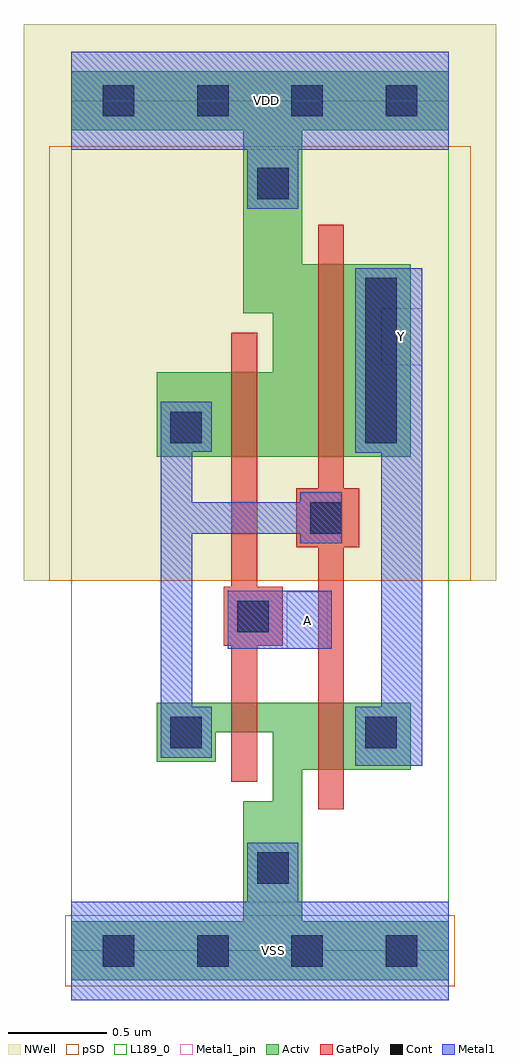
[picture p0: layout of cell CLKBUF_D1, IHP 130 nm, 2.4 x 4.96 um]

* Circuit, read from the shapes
.subckt CLKBUF_D1 A VDD VSS Y
XM1 VSS A n1 VSS sg13_lv_nmos w=0.15u l=0.13u
XM2 Y n1 VSS VSS sg13_lv_nmos w=0.34u l=0.13u
XM3 VDD A n1 VDD sg13_lv_pmos w=0.43u l=0.13u
XM4 Y n1 VDD VDD sg13_lv_pmos w=0.98u l=0.13u
.ends

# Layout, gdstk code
import gdstk
lib = gdstk.Library(unit=1e-6, precision=1e-09)
def R(c, l, rs):  # rectangles x0, y0, x1, y1
    for r in rs: c.add(gdstk.rectangle(r[:2], r[2:], *l))
def A(c, l, x, y, w, h, nx, ny, dx, dy):  # array of equal rectangles
    R(c, l, [(x+i*dx, y+j*dy, x+i*dx+w, y+j*dy+h) for i in range(nx) for j in range(ny)])
def P(c, l, *ps):  # polygons
    for p in ps: c.add(gdstk.Polygon(p, *l))
Activ = (1, 0)
GatPoly = (5, 0)
Cont = (6, 0)
Metal1 = (8, 0)
Metal1_pin = (8, 2)
pSD = (14, 0)
NWell = (31, 0)
L189_0 = (189, 0)

clkbuf_d1 = lib.new_cell('CLKBUF_D1')
P(clkbuf_d1, Activ, [(1.175,4.17),(1.92,4.17),(1.92,4.47),(0,4.47),(0,4.17),(0.875,4.17),(0.875,3.24),(1.025,3.24),(1.025,2.94),(0.435,2.94),(0.435,2.51),(1.725,2.51),(1.725,3.49),(1.175,3.49)],
  [(1.725,1.26),(0.435,1.26),(0.435,0.96),(0.735,0.96),(0.735,1.11),(1.025,1.11),(1.025,0.76),(0.875,0.76),(0.875,0.15),(0,0.15),(0,-0.15),(1.92,-0.15),(1.92,0.15),(1.175,0.15),(1.175,0.92),(1.725,0.92)])
P(clkbuf_d1, GatPoly, [(1.385,2.05),(1.465,2.05),(1.465,2.35),(1.385,2.35),(1.385,3.69),(1.255,3.69),(1.255,2.35),(1.145,2.35),(1.145,2.05),(1.255,2.05),(1.255,0.72),(1.385,0.72)],
  [(0.945,1.55),(1.075,1.55),(1.075,1.85),(0.945,1.85),(0.945,3.14),(0.815,3.14),(0.815,1.85),(0.775,1.85),(0.775,1.55),(0.815,1.55),(0.815,0.86),(0.945,0.86)])
A(clkbuf_d1, Cont, 0.16, -0.08, 0.16, 0.16, 4, 2, 0.48, 4.32)
R(clkbuf_d1, Cont, [(0.945,0.34,1.105,0.5), (0.505,1.03,0.665,1.19), (1.495,1.03,1.655,1.19), (0.845,1.62,1.005,1.78), (1.215,2.12,1.375,2.28), (0.505,2.58,0.665,2.74), (1.495,2.58,1.655,3.42), (0.945,3.82,1.105,3.98)])
R(clkbuf_d1, Metal1, [(0.795,1.535,1.325,1.83)])
P(clkbuf_d1, Metal1, [(1.155,3.77),(1.155,4.07),(1.92,4.07),(1.92,4.57),(0,4.57),(0,4.07),(0.895,4.07),(0.895,3.77)],
  [(1.445,3.47),(1.445,2.53),(1.575,2.53),(1.575,1.24),(1.445,1.24),(1.445,0.94),(1.785,0.94),(1.785,3.47)],
  [(0.715,1.24),(0.615,1.24),(0.615,2.12),(1.165,2.12),(1.165,2.07),(1.375,2.07),(1.375,2.33),(1.165,2.33),(1.165,2.28),(0.615,2.28),(0.615,2.535),(0.715,2.535),(0.715,2.79),(0.455,2.79),(0.455,0.98),(0.715,0.98)],
  [(0,-0.25),(1.92,-0.25),(1.92,0.25),(1.155,0.25),(1.155,0.55),(0.895,0.55),(0.895,0.25),(0,0.25)])
R(clkbuf_d1, Metal1_pin, [(0,-0.25,1.92,0.25), (1.095,1.535,1.305,1.825), (1.575,2.975,1.785,3.265), (0,4.07,1.92,4.57)])
R(clkbuf_d1, pSD, [(-0.03,-0.18,1.95,0.18), (-0.11,1.88,2.03,4.09)])
R(clkbuf_d1, NWell, [(-0.24,1.88,2.16,4.71)])
R(clkbuf_d1, L189_0, [(0,0,1.92,4.32)])
clkbuf_d1.add(gdstk.Label('Y', (1.68,3.12), layer=8, texttype=25))
clkbuf_d1.add(gdstk.Label('A', (1.2,1.68), layer=8, texttype=25))
clkbuf_d1.add(gdstk.Label('VDD', (0.995,4.32), layer=8, texttype=25))
clkbuf_d1.add(gdstk.Label('VSS', (1.03,0), layer=8, texttype=25))

lib.write_gds('CLKBUF_D1.gds')
